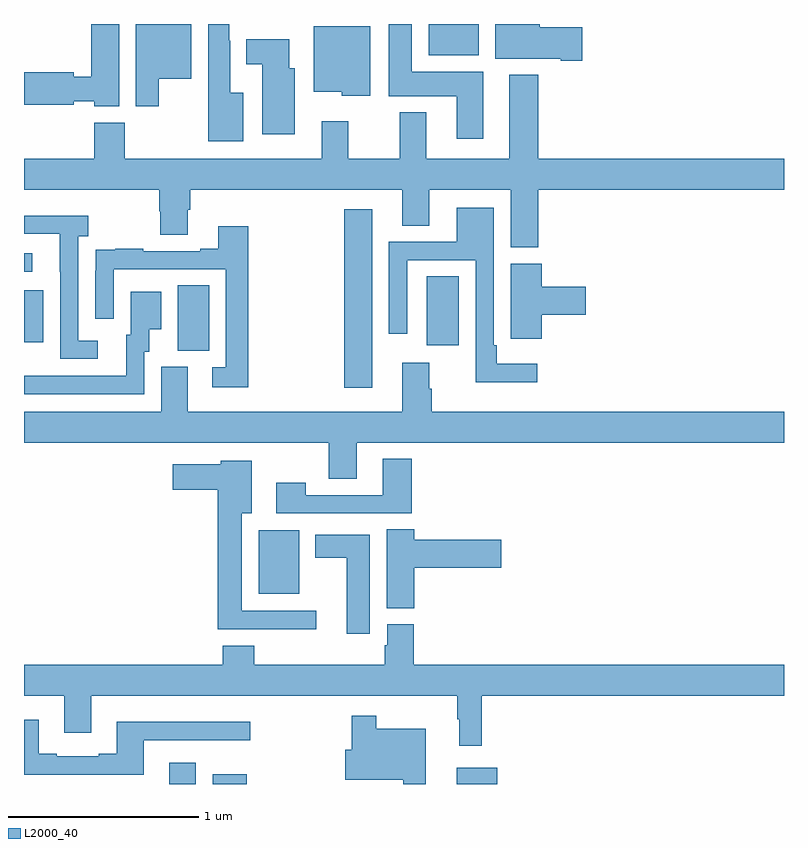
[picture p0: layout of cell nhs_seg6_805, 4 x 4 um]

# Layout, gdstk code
import gdstk
lib = gdstk.Library(unit=1e-6, precision=1e-09)
def R(c, l, rs):  # rectangles x0, y0, x1, y1
    for r in rs: c.add(gdstk.rectangle(r[:2], r[2:], *l))
def P(c, l, *ps):  # polygons
    for p in ps: c.add(gdstk.Polygon(p, *l))
L2000_40 = (2000, 40)

nhs_seg6_805 = lib.new_cell('nhs_seg6_805')
R(nhs_seg6_805, L2000_40, [(161.765,985.5,161.905,985.612), (161.993,985.5,162.172,985.552), (163.277,985.5,163.492,985.585), (162.236,986.501,162.448,986.836), (162.686,987.585,162.832,988.525), (161.81,987.781,161.974,988.124), (163.121,987.81,163.288,988.172), (161,987.825,161.101,988.099), (161,988.197,161.044,988.293), (163.13,989.336,163.393,989.5)])
P(nhs_seg6_805, L2000_40, [(163.939,989.484),(163.714,989.484),(163.714,989.5),(163.481,989.5),(163.481,989.318),(163.826,989.318),(163.826,989.306),(163.939,989.306)],
  [(163.417,989.248),(163.042,989.248),(163.042,989.5),(162.92,989.5),(162.92,989.12),(163.277,989.12),(163.277,988.896),(163.417,988.896)],
  [(161.5,989.5),(161.354,989.5),(161.354,989.223),(161.262,989.223),(161.262,989.246),(161,989.246),(161,989.075),(161.262,989.075),(161.262,989.093),(161.37,989.093),(161.37,989.066),(161.5,989.066)],
  [(162.154,989.137),(162.085,989.137),(162.085,989.411),(162.081,989.411),(162.081,989.5),(161.969,989.5),(161.969,988.883),(162.154,988.883)],
  [(161.71,989.213),(161.881,989.213),(161.881,989.5),(161.588,989.5),(161.588,989.067),(161.71,989.067)],
  [(162.823,989.488),(162.524,989.488),(162.524,989.144),(162.672,989.144),(162.672,989.123),(162.823,989.123)],
  [(162.424,989.268),(162.397,989.268),(162.397,989.419),(162.17,989.419),(162.17,989.288),(162.254,989.288),(162.254,988.92),(162.424,988.92)],
  [(163.706,988.628),(165,988.628),(165,988.792),(163.706,988.792),(163.706,989.233),(163.553,989.233),(163.553,988.792),(163.117,988.792),(163.117,989.035),(162.977,989.035),(162.977,988.792),(162.706,988.792),(162.706,988.987),(162.566,988.987),(162.566,988.792),(161.529,988.792),(161.529,988.981),(161.369,988.981),(161.369,988.792),(161,988.792),(161,988.628),(161.711,988.628),(161.711,988.515),(161.716,988.515),(161.716,988.39),(161.863,988.39),(161.863,988.522),(161.876,988.522),(161.876,988.628),(162.992,988.628),(162.992,988.438),(163.132,988.438),(163.132,988.628),(163.562,988.628),(163.562,988.324),(163.706,988.324)],
  [(163.702,987.712),(163.489,987.712),(163.489,987.808),(163.473,987.808),(163.473,988.534),(163.277,988.534),(163.277,988.353),(162.921,988.353),(162.921,987.87),(163.017,987.87),(163.017,988.257),(163.377,988.257),(163.377,987.614),(163.702,987.614)],
  [(161.389,987.834),(161.286,987.834),(161.286,988.382),(161.338,988.382),(161.338,988.492),(161,988.492),(161,988.395),(161.189,988.395),(161.189,988.195),(161.19,988.195),(161.19,987.738),(161.389,987.738)],
  [(162.179,988.435),(162.023,988.435),(162.023,988.318),(161.927,988.318),(161.927,988.305),(161.627,988.305),(161.627,988.318),(161.479,988.318),(161.479,988.311),(161.377,988.311),(161.377,988.202),(161.376,988.202),(161.376,987.948),(161.472,987.948),(161.472,988.209),(162.063,988.209),(162.063,987.693),(161.991,987.693),(161.991,987.588),(162.179,987.588)],
  [(163.724,987.971),(163.957,987.971),(163.957,988.118),(163.724,988.118),(163.724,988.239),(163.562,988.239),(163.562,987.955),(163.563,987.955),(163.563,987.843),(163.724,987.843)],
  [(161.634,987.774),(161.659,987.774),(161.659,987.893),(161.722,987.893),(161.722,988.09),(161.561,988.09),(161.561,987.864),(161.537,987.864),(161.537,987.648),(161.053,987.648),(161.053,987.649),(161,987.649),(161,987.552),(161.634,987.552)],
  [(162.751,987.296),(165,987.296),(165,987.46),(163.145,987.46),(163.145,987.581),(163.132,987.581),(163.132,987.718),(162.992,987.718),(162.992,987.46),(161.863,987.46),(161.863,987.696),(161.723,987.696),(161.723,987.46),(161,987.46),(161,987.296),(162.604,987.296),(162.604,987.106),(162.751,987.106)],
  [(163.04,987.211),(162.887,987.211),(162.887,987.021),(162.483,987.021),(162.483,987.085),(162.327,987.085),(162.327,986.925),(163.04,986.925)],
  [(162.538,986.412),(162.145,986.412),(162.145,986.924),(162.199,986.924),(162.199,987.202),(162.036,987.202),(162.036,987.184),(161.784,987.184),(161.784,987.05),(162.02,987.05),(162.02,986.315),(162.538,986.315)],
  [(163.055,986.639),(163.513,986.639),(163.513,986.786),(163.055,986.786),(163.055,986.84),(162.908,986.84),(162.908,986.425),(163.055,986.425)],
  [(162.82,986.812),(162.533,986.812),(162.533,986.69),(162.698,986.69),(162.698,986.292),(162.82,986.292)],
  [(163.409,985.964),(165,985.964),(165,986.128),(163.052,986.128),(163.052,986.34),(162.911,986.34),(162.911,986.229),(162.899,986.229),(162.899,986.128),(162.212,986.128),(162.212,986.227),(162.047,986.227),(162.047,986.128),(161,986.128),(161,985.964),(161.213,985.964),(161.213,985.77),(161.353,985.77),(161.353,985.964),(163.281,985.964),(163.281,985.841),(163.292,985.841),(163.292,985.701),(163.409,985.701)],
  [(163.114,985.792),(162.853,985.792),(162.853,985.858),(162.724,985.858),(162.724,985.681),(162.69,985.681),(162.69,985.523),(162.997,985.523),(162.997,985.5),(163.114,985.5)],
  [(161.629,985.731),(162.19,985.731),(162.19,985.828),(161.489,985.828),(161.489,985.66),(161.393,985.66),(161.393,985.647),(161.173,985.647),(161.173,985.66),(161.077,985.66),(161.077,985.837),(161,985.837),(161,985.55),(161.629,985.55)])

lib.write_gds('nhs_seg6_805.gds')
